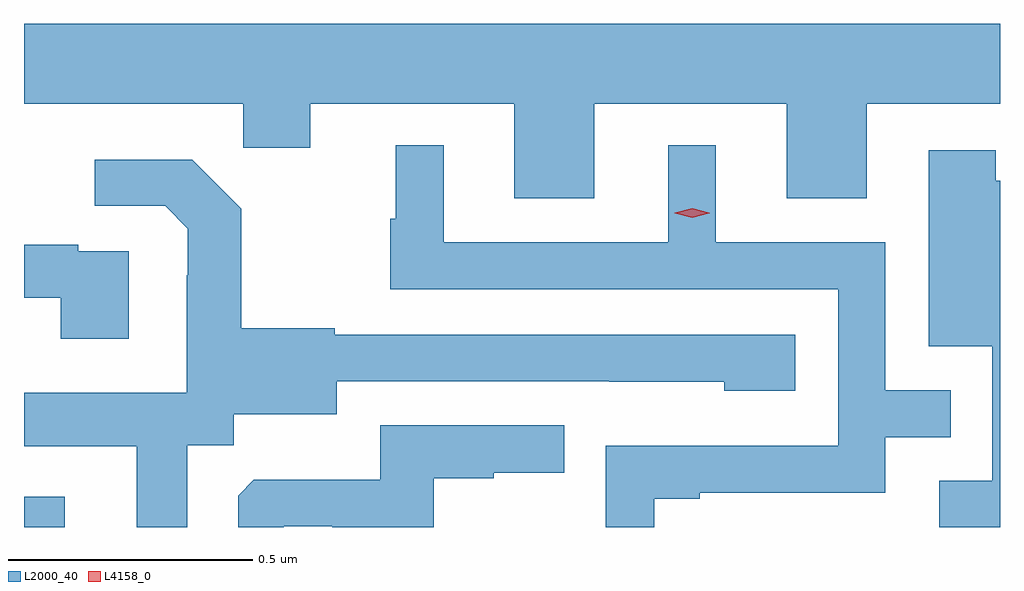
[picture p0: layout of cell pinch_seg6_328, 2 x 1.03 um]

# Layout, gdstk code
import gdstk
lib = gdstk.Library(unit=1e-6, precision=1e-09)
def R(c, l, rs):  # rectangles x0, y0, x1, y1
    for r in rs: c.add(gdstk.rectangle(r[:2], r[2:], *l))
def P(c, l, *ps):  # polygons
    for p in ps: c.add(gdstk.Polygon(p, *l))
L2000_40 = (2000, 40)
L4158_0 = (4158, 0)

pinch_seg6_328 = lib.new_cell('pinch_seg6_328')
R(pinch_seg6_328, L2000_40, [(674.804,979.768,674.887,979.831)])
P(pinch_seg6_328, L2000_40, [(675.973,980.636),(676.367,980.636),(676.367,980.442),(676.531,980.442),(676.531,980.636),(676.804,980.636),(676.804,980.8),(674.804,980.8),(674.804,980.636),(675.253,980.636),(675.253,980.546),(675.391,980.546),(675.391,980.636),(675.809,980.636),(675.809,980.442),(675.973,980.442)],
  [(676.095,979.827),(676.189,979.827),(676.189,979.839),(676.569,979.839),(676.569,979.953),(676.703,979.953),(676.703,980.049),(676.569,980.049),(676.569,980.352),(676.222,980.352),(676.222,980.551),(676.124,980.551),(676.124,980.352),(675.664,980.352),(675.664,980.551),(675.566,980.551),(675.566,980.4),(675.555,980.4),(675.555,980.256),(676.473,980.256),(676.473,979.935),(675.996,979.935),(675.996,979.768),(676.095,979.768)],
  [(676.804,980.478),(676.795,980.478),(676.795,980.541),(676.658,980.541),(676.658,980.139),(676.788,980.139),(676.788,979.863),(676.679,979.863),(676.679,979.768),(676.804,979.768)],
  [(675.139,979.936),(675.234,979.936),(675.234,980),(675.445,980),(675.445,980.067),(676.003,980.067),(676.003,980.066),(676.239,980.066),(676.239,980.048),(676.384,980.048),(676.384,980.163),(675.441,980.163),(675.441,980.176),(675.249,980.176),(675.249,980.421),(675.149,980.521),(674.949,980.521),(674.949,980.427),(675.093,980.427),(675.14,980.38),(675.14,980.285),(675.138,980.285),(675.138,980.044),(674.804,980.044),(674.804,979.934),(675.035,979.934),(675.035,979.768),(675.139,979.768)],
  [(675.019,980.334),(674.915,980.334),(674.915,980.347),(674.804,980.347),(674.804,980.238),(674.879,980.238),(674.879,980.154),(675.019,980.154)],
  [(675.336,979.77),(675.436,979.77),(675.436,979.768),(675.644,979.768),(675.644,979.869),(675.767,979.869),(675.767,979.88),(675.911,979.88),(675.911,979.977),(675.534,979.977),(675.534,979.865),(675.275,979.865),(675.243,979.833),(675.243,979.768),(675.336,979.768)])
P(pinch_seg6_328, L4158_0, [(676.173,980.402),(676.138,980.412),(676.137,980.412),(676.138,980.413),(676.173,980.422),(676.208,980.413),(676.209,980.412),(676.208,980.412)])

lib.write_gds('pinch_seg6_328.gds')
